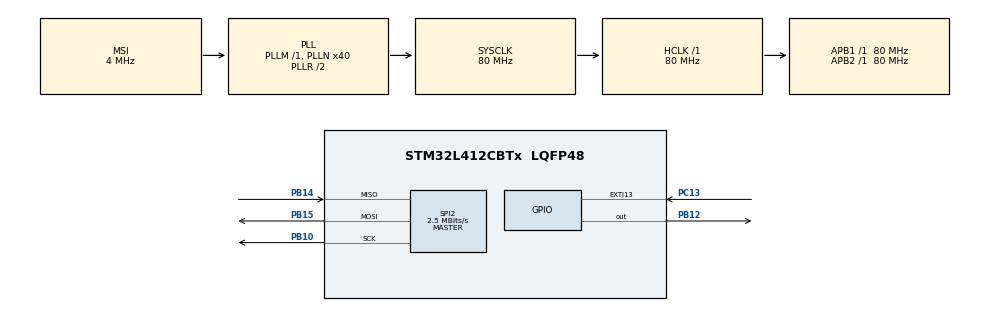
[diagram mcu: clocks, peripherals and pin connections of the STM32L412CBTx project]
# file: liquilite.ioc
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Dma.Request0=SPI2_TX
Dma.SPI2_TX.0.Direction=DMA_MEMORY_TO_PERIPH
Dma.SPI2_TX.0.Instance=DMA1_Channel5
Dma.SPI2_TX.0.MemDataAlignment=DMA_MDATAALIGN_BYTE
Dma.SPI2_TX.0.MemInc=DMA_MINC_ENABLE
Dma.SPI2_TX.0.Mode=DMA_NORMAL
Dma.SPI2_TX.0.PeriphDataAlignment=DMA_PDATAALIGN_BYTE
Dma.SPI2_TX.0.PeriphInc=DMA_PINC_DISABLE
Dma.SPI2_TX.0.Priority=DMA_PRIORITY_MEDIUM
Mcu.Family=STM32L4
Mcu.Name=STM32L412CBTx
Mcu.Package=LQFP48
NVIC.DMA1_Channel5_IRQn=true\:0\:0\:false\:false\:true\:false\:true\:true
NVIC.PriorityGroup=NVIC_PRIORITYGROUP_4
PA13\ (JTMS/SWDIO).Mode=Serial_Wire
PA13\ (JTMS/SWDIO).Signal=SYS_JTMS-SWDIO
PA14\ (JTCK/SWCLK).Mode=Serial_Wire
PA14\ (JTCK/SWCLK).Signal=SYS_JTCK-SWCLK
PB10.Mode=Full_Duplex_Master
PB10.Signal=SPI2_SCK
PB12.Signal=GPIO_Output
PB14.Mode=Full_Duplex_Master
PB14.Signal=SPI2_MISO
PB15.Mode=Full_Duplex_Master
PB15.Signal=SPI2_MOSI
PC13.Signal=GPXTI13
ProjectManager.HeapSize=0x200
ProjectManager.StackSize=0x400
ProjectManager.TargetToolchain=STM32CubeIDE
RCC.ADCFreq_Value=80000000
RCC.AHBFreq_Value=80000000
RCC.APB1Freq_Value=80000000
RCC.APB1TimFreq_Value=80000000
RCC.APB2Freq_Value=80000000
RCC.APB2TimFreq_Value=80000000
RCC.CortexFreq_Value=80000000
RCC.HCLKFreq_Value=80000000
RCC.HSE_VALUE=8000000
RCC.HSI48_VALUE=48000000
RCC.HSI_VALUE=16000000
RCC.LSE_VALUE=32768
RCC.MSI_VALUE=4000000
RCC.PLLN=40
RCC.SYSCLKFreq_VALUE=80000000
RCC.SYSCLKSource=RCC_SYSCLKSOURCE_PLLCLK
RCC.USBFreq_Value=4000000
RCC.VCOOutputFreq_Value=160000000
SPI2.BaudRatePrescaler=SPI_BAUDRATEPRESCALER_32
SPI2.CLKPhase=SPI_PHASE_1EDGE
SPI2.CLKPolarity=SPI_POLARITY_LOW
SPI2.CalculateBaudRate=2.5 MBits/s
SPI2.DataSize=SPI_DATASIZE_8BIT
SPI2.Direction=SPI_DIRECTION_2LINES
SPI2.Mode=SPI_MODE_MASTER
SPI2.NSSPMode=SPI_NSS_PULSE_DISABLE
SPI2.VirtualType=VM_MASTER
VP_CRC_VS_CRC.Mode=CRC_Activate
VP_RNG_VS_RNG.Mode=RNG_Activate
board=custom

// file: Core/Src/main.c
/* USER CODE BEGIN Header */
/**
  ******************************************************************************
  * @file           : main.c
  * @brief          : Main program body
  ******************************************************************************
  * @attention
  *
  * Copyright (c) 2026 STMicroelectronics.
  * All rights reserved.
  *
  * This software is licensed under terms that can be found in the LICENSE file
  * in the root directory of this software component.
  * If no LICENSE file comes with this software, it is provided AS-IS.
  *
  ******************************************************************************
  */
#include "led_matrix.h"
/* USER CODE END Header */
#include "main.h"

/* USER CODE BEGIN PD */
#define buf_size 24
#define j_coeff 3.5f
#define SHAKE_THRESHOLD 5.2f
uint8_t disp_buffer[12][2];
/* USER CODE END PD */

CRC_HandleTypeDef hcrc;

RNG_HandleTypeDef hrng;

SPI_HandleTypeDef hspi2;
DMA_HandleTypeDef hdma_spi2_tx;

/* USER CODE BEGIN PV */
volatile uint8_t id = 0;
float gX;
float gY;
uint8_t display_buffer_A[LED_COUNT];
uint8_t display_buffer_B[LED_COUNT];
volatile uint8_t* active_display_buf = display_buffer_A;
volatile uint8_t* render_canvas_buf  = display_buffer_B;
/* USER CODE END PV */

void SystemClock_Config(void);
static void MX_GPIO_Init(void);
static void MX_DMA_Init(void);
static void MX_SPI2_Init(void);
static void MX_CRC_Init(void);
static void MX_RNG_Init(void);

/* USER CODE BEGIN 0 */
void BMA400_WriteReg(uint8_t reg, uint8_t data) {
    uint8_t tx[2] = { reg & 0x7F, data }; // & 0x7F forces bit 7 to 0 for a Write
    HAL_GPIO_WritePin(GPIOB, GPIO_PIN_12, GPIO_PIN_RESET);
    for (volatile int i = 0; i < 50; i++);
    HAL_SPI_Transmit(&hspi2, tx, 2, 100);
    HAL_GPIO_WritePin(GPIOB, GPIO_PIN_12, GPIO_PIN_SET);
}

uint8_t BMA400_ReadReg(uint8_t reg) {
    uint8_t tx[3] = { reg | 0x80, 0x00, 0x00 };
    uint8_t rx[3] = { 0, 0, 0 };

    HAL_GPIO_WritePin(GPIOB, GPIO_PIN_12, GPIO_PIN_RESET);
    for (volatile int i = 0; i < 150; i++);

    HAL_SPI_TransmitReceive(&hspi2, tx, rx, 3, 100);

    HAL_GPIO_WritePin(GPIOB, GPIO_PIN_12, GPIO_PIN_SET);

    // rx[1] is the dummy byte. The real data is always in rx[2]!
    return rx[2];
}

void BMA400_ReadAccel_SPI(int16_t *x, int16_t *y) {
    // 6 Bytes Required: 1 Addr + 1 Dummy + 2 bytes for X + 2 bytes for Y
    uint8_t tx_buf[6] = {0};
    uint8_t rx_buf[6] = {0};

    tx_buf[0] = 0x04 | 0x80; // Start reading from ACC_X_LSB (0x04)

    HAL_GPIO_WritePin(GPIOB, GPIO_PIN_12, GPIO_PIN_RESET);
    HAL_SPI_TransmitReceive(&hspi2, tx_buf, rx_buf, 6, 100);
    HAL_GPIO_WritePin(GPIOB, GPIO_PIN_12, GPIO_PIN_SET);

    // Correct hardware mapping matching the 6-byte SPI stream
    int16_t true_x = (int16_t)(((uint16_t)rx_buf[3] << 8) | rx_buf[2]);
    int16_t true_y = (int16_t)(((uint16_t)rx_buf[5] << 8) | rx_buf[4]);

    // Sign extend 12-bit two's complement to 16-bit signed int
    if (true_x & 0x0800) true_x |= 0xF000;
    if (true_y & 0x0800) true_y |= 0xF000;

    *x = true_x;
    *y = true_y;
}

void SleeepyTime(){
	LED_Clear();
	HAL_Delay(5);
//	LED_Matrix_Scan();
	BMA400_ReadReg(0x0E);
	__HAL_GPIO_EXTI_CLEAR_IT(GPIO_PIN_13);
	HAL_Delay(10);
	HAL_SuspendTick();
//	BMA400_WriteReg(0x19, 0x00);
//	LED_Matrix_Init();

	HAL_PWR_EnterSTOPMode(PWR_LOWPOWERREGULATOR_ON, PWR_STOPENTRY_WFI);
	LED_Matrix_Init();
	HAL_ResumeTick();
	SystemClock_Config();
}
/* USER CODE END 0 */

int main(void)
{

  /* MCU Configuration--------------------------------------------------------*/

  /* Reset of all peripherals, Initializes the Flash interface and the Systick. */
  HAL_Init();

  /* Configure the system clock */
  SystemClock_Config();

  /* Initialize all configured peripherals */
  MX_GPIO_Init();
  MX_DMA_Init();
  MX_SPI2_Init();
  MX_CRC_Init();
  MX_RNG_Init();
  /* USER CODE BEGIN 2 */
    // Force CS HIGH immediately to clear any boot glitches
    HAL_GPIO_WritePin(GPIOB, GPIO_PIN_12, GPIO_PIN_SET);
    HAL_Delay(50); // Give the sensor a brief moment to stabilize
    LED_Matrix_Init();
    BMA400_WriteReg(0x19, 0x02);
    BMA400_WriteReg(0x1A, 0x08);
    BMA400_WriteReg(0x3F, 0xE0);
    BMA400_WriteReg(0x40, 0x00);
    BMA400_WriteReg(0x41, 0x96);
    BMA400_WriteReg(0x43, 0x01);
    BMA400_WriteReg(0x1F, 0x04);
    BMA400_WriteReg(0x21, 0x04);
    BMA400_WriteReg(0x24, 0x02);
    HAL_Delay(50);
  cellCount = cellX * cellY;   // Define the size of your grid
  allocateMemory();
  setBoundaryWalls();
  spawn_particles();
  float s_gx = gX;
  float s_gy = gY;
  /* USER CODE END 2 */

  /* Infinite loop */
  /* USER CODE BEGIN WHILE */

//  LED_Test(50);
  uint32_t last_movement_time = HAL_GetTick();
  while (1)
  {
//	  LED_Set(54, 1);
	  int16_t raw_x = 0;
	  int16_t raw_y = 0;

	  BMA400_ReadAccel_SPI(&raw_x, &raw_y);

	  gX = (float)raw_y* 0.096f;
//	  gX = 0.0f;
	  gY = (float)raw_x* -0.096f;
//	  gY=-9.81f;

	  float dax_dt = gX - s_gx;
	  float day_dt = gY - s_gy;

	  s_gx = gX;
	  s_gy = gY;

	  gX += dax_dt*j_coeff;
	  gY += day_dt*j_coeff;

	  int* cell = FlipSimulate(8, 10);
//	  LED_UpdateFromFlip(cell);
	  LED_BuildFrameFromFlip(cell);
	  __disable_irq();
	uint8_t* temp = active_display_buf;
	active_display_buf = render_canvas_buf;
	render_canvas_buf = temp;
	__enable_irq();
//	  HAL_Delay(5);
  if (abs(dax_dt) > SHAKE_THRESHOLD || abs(day_dt) > SHAKE_THRESHOLD) {
			last_movement_time = HAL_GetTick();
  }

	// Check if 10 seconds have elapsed
	if ((HAL_GetTick() - last_movement_time) > 10000) {
		SleeepyTime();
		last_movement_time = HAL_GetTick();
	}
    /* USER CODE END WHILE */

  }
}

void SystemClock_Config(void)
{
  RCC_OscInitTypeDef RCC_OscInitStruct = {0};
  RCC_ClkInitTypeDef RCC_ClkInitStruct = {0};

  /** Configure the main internal regulator output voltage
  */
  if (HAL_PWREx_ControlVoltageScaling(PWR_REGULATOR_VOLTAGE_SCALE1) != HAL_OK)
  {
    Error_Handler();
  }

  /** Initializes the RCC Oscillators according to the specified parameters
  * in the RCC_OscInitTypeDef structure.
  */
  RCC_OscInitStruct.OscillatorType = RCC_OSCILLATORTYPE_MSI;
  RCC_OscInitStruct.MSIState = RCC_MSI_ON;
  RCC_OscInitStruct.MSICalibrationValue = 0;
  RCC_OscInitStruct.MSIClockRange = RCC_MSIRANGE_6;
  RCC_OscInitStruct.PLL.PLLState = RCC_PLL_ON;
  RCC_OscInitStruct.PLL.PLLSource = RCC_PLLSOURCE_MSI;
  RCC_OscInitStruct.PLL.PLLM = 1;
  RCC_OscInitStruct.PLL.PLLN = 40;
  RCC_OscInitStruct.PLL.PLLQ = RCC_PLLQ_DIV2;
  RCC_OscInitStruct.PLL.PLLR = RCC_PLLR_DIV2;
  if (HAL_RCC_OscConfig(&RCC_OscInitStruct) != HAL_OK)
  {
    Error_Handler();
  }

  /** Initializes the CPU, AHB and APB buses clocks
  */
  RCC_ClkInitStruct.ClockType = RCC_CLOCKTYPE_HCLK|RCC_CLOCKTYPE_SYSCLK
                              |RCC_CLOCKTYPE_PCLK1|RCC_CLOCKTYPE_PCLK2;
  RCC_ClkInitStruct.SYSCLKSource = RCC_SYSCLKSOURCE_PLLCLK;
  RCC_ClkInitStruct.AHBCLKDivider = RCC_SYSCLK_DIV1;
  RCC_ClkInitStruct.APB1CLKDivider = RCC_HCLK_DIV1;
  RCC_ClkInitStruct.APB2CLKDivider = RCC_HCLK_DIV1;

  if (HAL_RCC_ClockConfig(&RCC_ClkInitStruct, FLASH_LATENCY_4) != HAL_OK)
  {
    Error_Handler();
  }
}

static void MX_CRC_Init(void)
{

  hcrc.Instance = CRC;
  hcrc.Init.DefaultPolynomialUse = DEFAULT_POLYNOMIAL_ENABLE;
  hcrc.Init.DefaultInitValueUse = DEFAULT_INIT_VALUE_ENABLE;
  hcrc.Init.InputDataInversionMode = CRC_INPUTDATA_INVERSION_NONE;
  hcrc.Init.OutputDataInversionMode = CRC_OUTPUTDATA_INVERSION_DISABLE;
  hcrc.InputDataFormat = CRC_INPUTDATA_FORMAT_BYTES;
  if (HAL_CRC_Init(&hcrc) != HAL_OK)
  {
    Error_Handler();
  }

}

static void MX_RNG_Init(void)
{

  hrng.Instance = RNG;
  if (HAL_RNG_Init(&hrng) != HAL_OK)
  {
    Error_Handler();
  }

}

static void MX_SPI2_Init(void)
{

  /* SPI2 parameter configuration*/
  hspi2.Instance = SPI2;
  hspi2.Init.Mode = SPI_MODE_MASTER;
  hspi2.Init.Direction = SPI_DIRECTION_2LINES;
  hspi2.Init.DataSize = SPI_DATASIZE_8BIT;
  hspi2.Init.CLKPolarity = SPI_POLARITY_LOW;
  hspi2.Init.CLKPhase = SPI_PHASE_1EDGE;
  hspi2.Init.NSS = SPI_NSS_SOFT;
  hspi2.Init.BaudRatePrescaler = SPI_BAUDRATEPRESCALER_32;
  hspi2.Init.FirstBit = SPI_FIRSTBIT_MSB;
  hspi2.Init.TIMode = SPI_TIMODE_DISABLE;
  hspi2.Init.CRCCalculation = SPI_CRCCALCULATION_DISABLE;
  hspi2.Init.CRCPolynomial = 7;
  hspi2.Init.CRCLength = SPI_CRC_LENGTH_DATASIZE;
  hspi2.Init.NSSPMode = SPI_NSS_PULSE_DISABLE;
  if (HAL_SPI_Init(&hspi2) != HAL_OK)
  {
    Error_Handler();
  }

}

static void MX_DMA_Init(void)
{

  /* DMA controller clock enable */
  __HAL_RCC_DMA1_CLK_ENABLE();

  /* DMA interrupt init */
  /* DMA1_Channel5_IRQn interrupt configuration */
  HAL_NVIC_SetPriority(DMA1_Channel5_IRQn, 0, 0);
  HAL_NVIC_EnableIRQ(DMA1_Channel5_IRQn);

}

static void MX_GPIO_Init(void)
{
  GPIO_InitTypeDef GPIO_InitStruct = {0};

  /* GPIO Ports Clock Enable */
  __HAL_RCC_GPIOC_CLK_ENABLE();
  __HAL_RCC_GPIOA_CLK_ENABLE();
  __HAL_RCC_GPIOB_CLK_ENABLE();

  /*Configure GPIO pin Output Level */
  HAL_GPIO_WritePin(GPIOB, GPIO_PIN_12, GPIO_PIN_RESET);

  /*Configure GPIO pin : PC13 */
  GPIO_InitStruct.Pin = GPIO_PIN_13;
  GPIO_InitStruct.Mode = GPIO_MODE_IT_RISING;
  GPIO_InitStruct.Pull = GPIO_NOPULL;
  HAL_GPIO_Init(GPIOC, &GPIO_InitStruct);
  HAL_NVIC_SetPriority(EXTI15_10_IRQn, 0, 0);
  HAL_NVIC_EnableIRQ(EXTI15_10_IRQn);

  /*Configure GPIO pin : PB12 */
  GPIO_InitStruct.Pin = GPIO_PIN_12;
  GPIO_InitStruct.Mode = GPIO_MODE_OUTPUT_PP;
  GPIO_InitStruct.Pull = GPIO_NOPULL;
  GPIO_InitStruct.Speed = GPIO_SPEED_FREQ_LOW;
  HAL_GPIO_Init(GPIOB, &GPIO_InitStruct);

  /* USER CODE BEGIN MX_GPIO_Init_2 */
  /* USER CODE BEGIN MX_GPIO_Init_2 */
  GPIO_InitStruct.Mode  = GPIO_MODE_OUTPUT_PP;
  GPIO_InitStruct.Pull  = GPIO_NOPULL;
  GPIO_InitStruct.Speed = GPIO_SPEED_FREQ_LOW;

  // rows
  GPIO_InitStruct.Pin = GPIO_PIN_1|GPIO_PIN_2|GPIO_PIN_3|GPIO_PIN_4|
                        GPIO_PIN_5|GPIO_PIN_6|GPIO_PIN_7|GPIO_PIN_8|
                        GPIO_PIN_9|GPIO_PIN_10|GPIO_PIN_0|GPIO_PIN_15;
  HAL_GPIO_Init(GPIOA, &GPIO_InitStruct);

  GPIO_InitStruct.Pin = GPIO_PIN_11|GPIO_PIN_13|GPIO_PIN_0;
  HAL_GPIO_Init(GPIOB, &GPIO_InitStruct);

  // cols - default HIGH
  GPIO_InitStruct.Pin = GPIO_PIN_1|GPIO_PIN_2|GPIO_PIN_3|GPIO_PIN_4|
                        GPIO_PIN_5|GPIO_PIN_6|GPIO_PIN_7|GPIO_PIN_8|GPIO_PIN_9;
  HAL_GPIO_Init(GPIOB, &GPIO_InitStruct);
//  HAL_GPIO_WritePin(GPIOB, GPIO_PIN_1|GPIO_PIN_2|GPIO_PIN_3|GPIO_PIN_4|
//                           GPIO_PIN_5|GPIO_PIN_6|GPIO_PIN_7|GPIO_PIN_8|GPIO_PIN_9,
//                           GPIO_PIN_RESET);
  /* USER CODE END MX_GPIO_Init_2 */
}

/* USER CODE BEGIN 4 */
void EXTI15_10_IRQHandler(void)
{
  HAL_GPIO_EXTI_IRQHandler(GPIO_PIN_13);
}
/* USER CODE END 4 */

void Error_Handler(void)
{
  __disable_irq();
  while (1)
  {
  }
}
